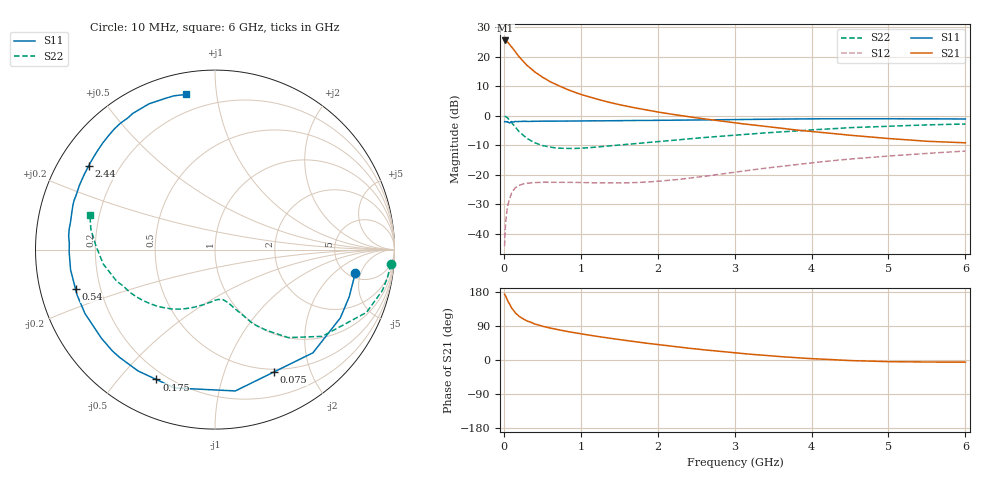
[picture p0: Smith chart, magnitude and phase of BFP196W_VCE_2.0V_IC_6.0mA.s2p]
! Infineon Technologies  Discrete & RF Semiconductors
! BFP196W
! VCE = 2.0 V,  IC = 6.0mA
! Common Emitter S-Parameters:  Jan 2016
# GHz  S  MA  R  50
!  f  S11  S21  S12  S22
! GHz  MAG  ANG  MAG  ANG  MAG  ANG  MAG  ANG
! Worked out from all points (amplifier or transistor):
!   210 points, 10 MHz to 6 GHz, reference 50 ohm
!   highest |S21| = 25.5 dB at 20 MHz (marker M1)
!   |S21| within 3 dB of that: start of sweep to 125.5 MHz
!   unconditionally stable (mu >= 1): 1.342 GHz to 3.3 GHz
!   at 185 MHz: K = 0.16, MSG = 22.1 dB, |S12| = -23.8 dB
!   at 1.52 GHz: K = 1.10, MAG = 11.3 dB, |S12| = -22.8 dB
!   at 6 GHz: K = 0.98, MSG = 1.4 dB, |S12| = -12.0 dB
!   S11 on the Smith chart (normalised r, x): 10 MHz: 5.74, -4.04; 75 MHz: 0.47, -1.49; 175 MHz: 0.16, -0.63; 540 MHz: 0.11, -0.14; 2.44 GHz: 0.09, +0.30; 6 GHz: 0.11, +0.83
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0.01  0.7925 -9.5  18.55 173.6  0.0062 83.8  0.9829 -4.7
0.02  0.7927 -19.4  18.75 170.1  0.013 81.0  0.9729 -9.4
0.03  0.7953 -28.6  18.46 165.5  0.0192 76.7  0.9596 -13.8
0.05  0.7927 -46.5  17.66 156.0  0.03 67.8  0.9139 -22.5
0.075  0.7568 -64.2  15.98 147.5  0.0392 57.2  0.8325 -30.0
0.1  0.7956 -81.8  14.72 137.4  0.0492 50.8  0.7683 -39.0
0.15  0.8032 -106.3  12.06 124.1  0.0607 39.6  0.638 -50.2
0.175  0.794 -114.3  10.93 120.0  0.0634 35.8  0.5857 -53.4
0.2  0.8006 -122.4  9.876 114.9  0.0663 32.4  0.5357 -57.3
0.24  0.802 -131.5  8.644 109.9  0.0692 28.4  0.4811 -61.5
0.3  0.8028 -142.1  7.117 103.1  0.0719 24.1  0.4128 -65.8
0.4  0.8072 -153.8  5.529 95.2  0.0738 19.5  0.3496 -71.2
0.54  0.8076 -164.1  4.207 87.4  0.0748 16.7  0.3054 -76.2
0.8  0.8114 -176.4  2.858 76.1  0.0749 15.6  0.2796 -83.9
1.02  0.8135 177.0  2.253 68.5  0.0736 16.4  0.2829 -90.2
1.4  0.8218 167.4  1.648 56.7  0.0728 21.1  0.3099 -100.3
2.02  0.8362 154.4  1.144 40.4  0.0782 33.7  0.3664 -116.1
2.44  0.8445 146.5  0.945 30.4  0.0884 40.9  0.4105 -126.5
3.1  0.8646 135.0  0.731 17.2  0.1151 46.8  0.4798 -142.4
4.1  0.8863 119.7  0.527 2.7  0.1644 45.1  0.5849 -164.5
5.1  0.8869 108.1  0.403 -4.6  0.2121 37.8  0.6709 176.5
6  0.8792 100.5  0.348 -5.5  0.2522 30.8  0.7234 164.5
